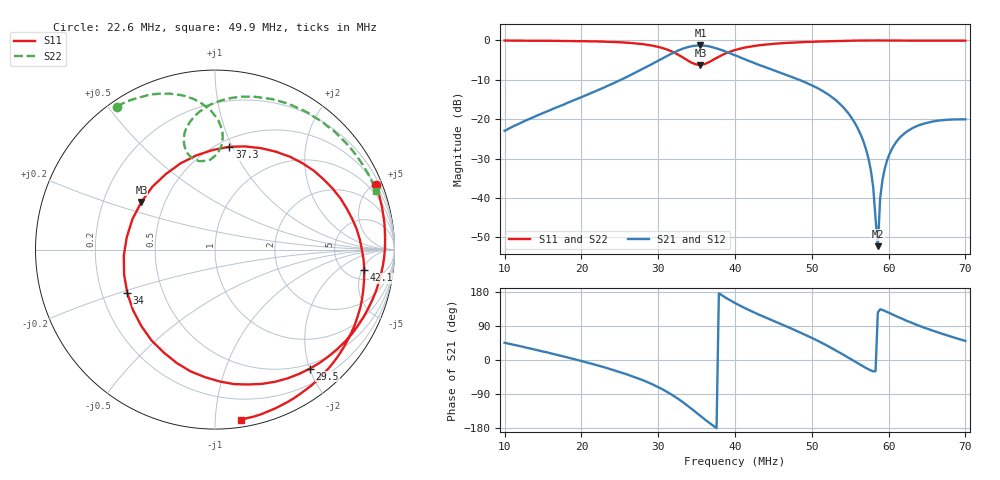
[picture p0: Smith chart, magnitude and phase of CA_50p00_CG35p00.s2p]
#  HZ  S  RI  R  50.00
! Rohde & Schwarz ZVT8 8Ports - Version 4.11 - 1300.0000k08 SN: 100242
! Date: 2026-07-31 15:14:49
! Measurements: S11 S21 S12 S22
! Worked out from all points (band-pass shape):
!   201 points, 10 MHz to 70 MHz, reference 50 ohm
!   highest |S21| = -1.28 dB at 35.5 MHz (marker M1); lowest = -52.2 dB at 58.6 MHz (marker M2)
!   |S21| within 3 dB of the highest: 30.84 MHz to 40.64 MHz (9.802 MHz wide, 27.4 % of centre)
!   lowest |S11| = -6.2 dB at 35.5 MHz (marker M3), VSWR 2.91, Z = 18.5 + j12.9 ohm
!   |S11| at or under -10 dB: nowhere
!   |S22| runs from -6.1 to 0.0 dB; largest |S21 - S12| = 0.0035
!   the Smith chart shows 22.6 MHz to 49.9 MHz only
!   S11 on the Smith chart (normalised r, x): 22.6 MHz: 0.46, +5.11; 29.5 MHz: 0.42, -2.00; 34 MHz: 0.31, -0.21; 37.3 MHz: 0.57, +0.98; 42.1 MHz: 7.09, -5.53; 49.9 MHz: 0.05, -1.16
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1e7  -0.4062 0.9098  0.0499 0.0509  0.0498 0.0509  -0.9205 0.3812
2.02e7  0.7324 0.6466  0.194 -0.0124  0.1933 -0.0123  -0.6493 0.7295
2.26e7  0.8964 0.3619  0.2332 -0.0713  0.2347 -0.071  -0.5467 0.7967
2.65e7  0.8968 -0.2315  0.2728 -0.2449  0.2728 -0.2456  -0.3318 0.8667
2.95e7  0.5289 -0.6631  0.2066 -0.4787  0.2058 -0.4778  -0.1255 0.8418
3.01e7  0.404 -0.7175  0.1672 -0.5339  0.1684 -0.5344  -0.0845 0.8214
3.22e7  -0.1368 -0.6782  -0.0879 -0.7078  -0.0881 -0.7064  0.0286 0.6951
3.4e7  -0.489 -0.2406  -0.4556 -0.6919  -0.4562 -0.6918  0.0227 0.5509
3.55e7  -0.4096 0.2657  -0.7285 -0.4628  -0.7278 -0.4627  -0.0669 0.4935
3.73e7  0.0802 0.573  -0.804 -0.063  -0.8045 -0.0643  -0.1647 0.5588
4e7  0.6989 0.2854  -0.5626 0.32  -0.5624 0.3206  -0.1065 0.7501
4.21e7  0.8315 -0.1151  -0.3374 0.4155  -0.338 0.4156  0.0611 0.838
4.99e7  0.1429 -0.9485  0.1386 0.2342  0.1383 0.2343  0.8989 0.3257
5.02e7  0.1054 -0.9564  0.1457 0.2201  0.1453 0.2209  0.9199 0.2704
5.32e7  -0.2773 -0.9432  0.1568 0.0716  0.1566 0.0713  0.886 -0.4166
5.65e7  -0.6444 -0.7586  0.0577 -0.0149  0.0575 -0.0148  0.1707 -0.977
5.77e7  -0.7504 -0.6559  0.0197 -0.0103  0.0197 -0.0102  -0.1701 -0.9783
5.86e7  -0.8196 -0.5701  -0.00142 0.002  -0.00145 0.00195  -0.4014 -0.9097
5.92e7  -0.8579 -0.5079  -0.0114 0.0125  -0.0113 0.0126  -0.5369 -0.8364
6.01e7  -0.9053 -0.4133  -0.0201 0.0296  -0.02 0.0296  -0.7037 -0.7013
6.4e7  -0.9916 0.0292  -0.000435 0.0843  -0.000295 0.0839  -0.9906 -0.0428
7e7  -0.7463 0.6529  0.0637 0.0768  0.0637 0.0766  -0.7798 0.6116
